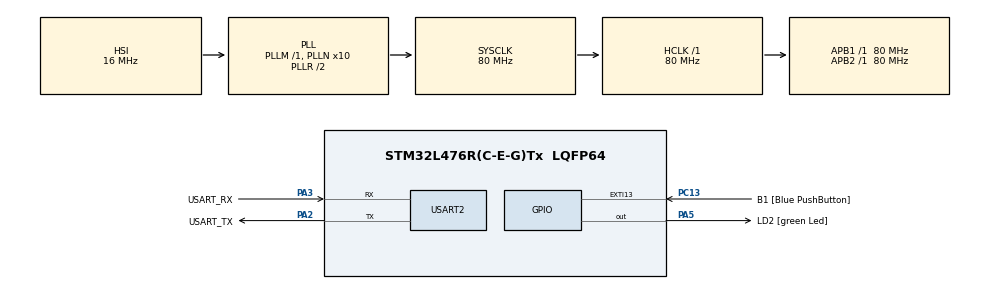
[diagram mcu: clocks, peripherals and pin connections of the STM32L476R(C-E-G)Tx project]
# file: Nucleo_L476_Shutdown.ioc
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Mcu.Family=STM32L4
Mcu.Name=STM32L476R(C-E-G)Tx
Mcu.Package=LQFP64
NVIC.EXTI15_10_IRQn=true\:0\:0\:false\:false\:true\:true\:true
NVIC.PriorityGroup=NVIC_PRIORITYGROUP_4
PA13\ (JTMS-SWDIO).GPIO_Label=TMS
PA13\ (JTMS-SWDIO).Mode=Serial_Wire
PA13\ (JTMS-SWDIO).Signal=SYS_JTMS-SWDIO
PA14\ (JTCK-SWCLK).GPIO_Label=TCK
PA14\ (JTCK-SWCLK).Mode=Serial_Wire
PA14\ (JTCK-SWCLK).Signal=SYS_JTCK-SWCLK
PA2.GPIO_Label=USART_TX
PA2.GPIO_Mode=GPIO_MODE_AF_PP
PA2.GPIO_PuPd=GPIO_NOPULL
PA2.GPIO_Speed=GPIO_SPEED_FREQ_VERY_HIGH
PA2.Mode=Asynchronous
PA2.Signal=USART2_TX
PA3.GPIO_Label=USART_RX
PA3.GPIO_Mode=GPIO_MODE_AF_PP
PA3.GPIO_PuPd=GPIO_NOPULL
PA3.GPIO_Speed=GPIO_SPEED_FREQ_VERY_HIGH
PA3.Mode=Asynchronous
PA3.Signal=USART2_RX
PA5.GPIO_Label=LD2 [green Led]
PA5.GPIO_ModeDefaultOutputPP=GPIO_MODE_OUTPUT_PP
PA5.GPIO_PuPd=GPIO_NOPULL
PA5.GPIO_Speed=GPIO_SPEED_FREQ_LOW
PA5.Signal=GPIO_Output
PB3\ (JTDO-TRACESWO).GPIO_Label=SWO
PB3\ (JTDO-TRACESWO).Signal=SYS_JTDO-SWO
PC13.GPIO_Label=B1 [Blue PushButton]
PC13.GPIO_ModeDefaultEXTI=GPIO_MODE_IT_FALLING
PC13.GPIO_PuPd=GPIO_NOPULL
PC13.Signal=GPXTI13
PC14-OSC32_IN\ (PC14).Mode=LSE-External-Oscillator
PC14-OSC32_IN\ (PC14).Signal=RCC_OSC32_IN
PC15-OSC32_OUT\ (PC15).Mode=LSE-External-Oscillator
PC15-OSC32_OUT\ (PC15).Signal=RCC_OSC32_OUT
PH0-OSC_IN\ (PH0).Signal=RCC_OSC_IN
PH1-OSC_OUT\ (PH1).Signal=RCC_OSC_OUT
ProjectManager.HeapSize=0x200
ProjectManager.StackSize=0x400
ProjectManager.TargetToolchain=STM32CubeIDE
RCC.ADCFreq_Value=64000000
RCC.AHBFreq_Value=80000000
RCC.APB1Freq_Value=80000000
RCC.APB1TimFreq_Value=80000000
RCC.APB2Freq_Value=80000000
RCC.APB2TimFreq_Value=80000000
RCC.CortexFreq_Value=80000000
RCC.HCLKFreq_Value=80000000
RCC.HSE_VALUE=8000000
RCC.HSI_VALUE=16000000
RCC.MSI_VALUE=4000000
RCC.PLLN=10
RCC.PLLSourceVirtual=RCC_PLLSOURCE_HSI
RCC.PREFETCH_ENABLE=1
RCC.SYSCLKFreq_VALUE=80000000
RCC.SYSCLKSource=RCC_SYSCLKSOURCE_PLLCLK
RCC.USBFreq_Value=64000000
RCC.VCOOutputFreq_Value=160000000
USART2.VirtualMode-Asynchronous=VM_ASYNC
board=NUCLEO-L476RG

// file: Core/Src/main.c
/* USER CODE BEGIN Header */
/**
  ******************************************************************************
  * @file           : main.c
  * @brief          : Main program body
  ******************************************************************************
  * @attention
  *
  * <h2><center>&copy; Copyright (c) 2021 STMicroelectronics.
  * All rights reserved.</center></h2>
  *
  * This software component is licensed by ST under BSD 3-Clause license,
  * the "License"; You may not use this file except in compliance with the
  * License. You may obtain a copy of the License at:
  *                        opensource.org/licenses/BSD-3-Clause
  *
  ******************************************************************************
  */
/* USER CODE END Header */
#include "main.h"

/* USER CODE BEGIN PD */

/* Delay set between each LED turn-on/off while LED is toggling */
#define LED_TOGGLE_DELAY         100
/* Delay set to keep LED turned on when out-of-shutdown detected */
#define LED_FREEZE_DELAY         50

/* USER CODE END PD */

UART_HandleTypeDef huart2;

/* USER CODE BEGIN PV */
static __IO uint32_t TimingDelay;
static __IO uint32_t counter;
static __IO uint32_t out_of_shutdown;
/* USER CODE END PV */

void SystemClock_Config(void);
static void MX_GPIO_Init(void);
static void MX_USART2_UART_Init(void);

int main(void)
{
  /* USER CODE BEGIN 1 */
	 out_of_shutdown = 0;
	 counter = LED_FREEZE_DELAY;
  /* USER CODE END 1 */

  /* MCU Configuration--------------------------------------------------------*/

  /* Reset of all peripherals, Initializes the Flash interface and the Systick. */
  HAL_Init();

  /* Configure the system clock */
  SystemClock_Config();

  /* Initialize all configured peripherals */
  MX_GPIO_Init();
  MX_USART2_UART_Init();
  /* USER CODE BEGIN 2 */

	__HAL_RCC_PWR_CLK_ENABLE();
	HAL_PWR_EnableBkUpAccess();

	/* Check and Clear the Wakeup flag */
	if (__HAL_PWR_GET_FLAG(PWR_FLAG_WUF2) != RESET)
	{
	  __HAL_PWR_CLEAR_FLAG(PWR_FLAG_WUF2);
	}

  /* USER CODE END 2 */

  /* Infinite loop */
  while (1)
  {

  }
}

void SystemClock_Config(void)
{
  RCC_OscInitTypeDef RCC_OscInitStruct = {0};
  RCC_ClkInitTypeDef RCC_ClkInitStruct = {0};

  /** Configure the main internal regulator output voltage
  */
  if (HAL_PWREx_ControlVoltageScaling(PWR_REGULATOR_VOLTAGE_SCALE1) != HAL_OK)
  {
    Error_Handler();
  }
  /** Initializes the RCC Oscillators according to the specified parameters
  * in the RCC_OscInitTypeDef structure.
  */
  RCC_OscInitStruct.OscillatorType = RCC_OSCILLATORTYPE_HSI;
  RCC_OscInitStruct.HSIState = RCC_HSI_ON;
  RCC_OscInitStruct.HSICalibrationValue = RCC_HSICALIBRATION_DEFAULT;
  RCC_OscInitStruct.PLL.PLLState = RCC_PLL_ON;
  RCC_OscInitStruct.PLL.PLLSource = RCC_PLLSOURCE_HSI;
  RCC_OscInitStruct.PLL.PLLM = 1;
  RCC_OscInitStruct.PLL.PLLN = 10;
  RCC_OscInitStruct.PLL.PLLP = RCC_PLLP_DIV7;
  RCC_OscInitStruct.PLL.PLLQ = RCC_PLLQ_DIV2;
  RCC_OscInitStruct.PLL.PLLR = RCC_PLLR_DIV2;
  if (HAL_RCC_OscConfig(&RCC_OscInitStruct) != HAL_OK)
  {
    Error_Handler();
  }
  /** Initializes the CPU, AHB and APB buses clocks
  */
  RCC_ClkInitStruct.ClockType = RCC_CLOCKTYPE_HCLK|RCC_CLOCKTYPE_SYSCLK
                              |RCC_CLOCKTYPE_PCLK1|RCC_CLOCKTYPE_PCLK2;
  RCC_ClkInitStruct.SYSCLKSource = RCC_SYSCLKSOURCE_PLLCLK;
  RCC_ClkInitStruct.AHBCLKDivider = RCC_SYSCLK_DIV1;
  RCC_ClkInitStruct.APB1CLKDivider = RCC_HCLK_DIV1;
  RCC_ClkInitStruct.APB2CLKDivider = RCC_HCLK_DIV1;

  if (HAL_RCC_ClockConfig(&RCC_ClkInitStruct, FLASH_LATENCY_4) != HAL_OK)
  {
    Error_Handler();
  }
}

static void MX_USART2_UART_Init(void)
{

  huart2.Instance = USART2;
  huart2.Init.BaudRate = 115200;
  huart2.Init.WordLength = UART_WORDLENGTH_8B;
  huart2.Init.StopBits = UART_STOPBITS_1;
  huart2.Init.Parity = UART_PARITY_NONE;
  huart2.Init.Mode = UART_MODE_TX_RX;
  huart2.Init.HwFlowCtl = UART_HWCONTROL_NONE;
  huart2.Init.OverSampling = UART_OVERSAMPLING_16;
  huart2.Init.OneBitSampling = UART_ONE_BIT_SAMPLE_DISABLE;
  huart2.AdvancedInit.AdvFeatureInit = UART_ADVFEATURE_NO_INIT;
  if (HAL_UART_Init(&huart2) != HAL_OK)
  {
    Error_Handler();
  }

}

static void MX_GPIO_Init(void)
{
  GPIO_InitTypeDef GPIO_InitStruct = {0};

  /* GPIO Ports Clock Enable */
  __HAL_RCC_GPIOC_CLK_ENABLE();
  __HAL_RCC_GPIOH_CLK_ENABLE();
  __HAL_RCC_GPIOA_CLK_ENABLE();
  __HAL_RCC_GPIOB_CLK_ENABLE();

  /*Configure GPIO pin Output Level */
  HAL_GPIO_WritePin(LD2_GPIO_Port, LD2_Pin, GPIO_PIN_RESET);

  /*Configure GPIO pin : B1_Pin */
  GPIO_InitStruct.Pin = B1_Pin;
  GPIO_InitStruct.Mode = GPIO_MODE_IT_FALLING;
  GPIO_InitStruct.Pull = GPIO_NOPULL;
  HAL_GPIO_Init(B1_GPIO_Port, &GPIO_InitStruct);

  /*Configure GPIO pin : LD2_Pin */
  GPIO_InitStruct.Pin = LD2_Pin;
  GPIO_InitStruct.Mode = GPIO_MODE_OUTPUT_PP;
  GPIO_InitStruct.Pull = GPIO_NOPULL;
  GPIO_InitStruct.Speed = GPIO_SPEED_FREQ_LOW;
  HAL_GPIO_Init(LD2_GPIO_Port, &GPIO_InitStruct);

  /* EXTI interrupt init*/
  HAL_NVIC_SetPriority(EXTI15_10_IRQn, 0, 0);
  HAL_NVIC_EnableIRQ(EXTI15_10_IRQn);

}

/* USER CODE BEGIN 4 */
void HAL_SYSTICK_Callback(void)
{
  HAL_IncTick();
  if (TimingDelay != 0)
  {
    TimingDelay--;
  }
  else
  {
    /* Keep LED2 on for about 4 sec. when out-of-shutdown detected */
    if ((out_of_shutdown == 1) && (counter > 0))
    {
      HAL_GPIO_WritePin(GPIOA, GPIO_PIN_5, GPIO_PIN_SET);
      counter--;
    }
    else
    {
    /* Toggle LED2 */
    HAL_GPIO_TogglePin(GPIOA, GPIO_PIN_5);
    }
    TimingDelay = LED_TOGGLE_DELAY;
  }

}

void HAL_GPIO_EXTI_Callback(uint16_t GPIO_Pin)
{
	if (GPIO_Pin == GPIO_PIN_13)
	{
		/* Wait that user release the User push-button */
		while(HAL_GPIO_ReadPin(GPIOC, GPIO_PIN_13) == GPIO_PIN_RESET){}

		/* Disable all used wakeup sources: WKUP pin */
		HAL_PWR_DisableWakeUpPin(PWR_WAKEUP_PIN2);

		/* Clear wake up Flag */
		__HAL_PWR_CLEAR_FLAG(PWR_FLAG_WUF2);

		/* Enable wakeup pin WKUP2 */
		HAL_PWR_EnableWakeUpPin(PWR_WAKEUP_PIN2_LOW);

		/* Set RTC back-up register RTC_BKP31R to indicate
		   later on that system has entered shutdown mode  */
		WRITE_REG( RTC->BKP31R, 0x1 );
		/* Enter shutdown mode */
		HAL_PWREx_EnterSHUTDOWNMode();
	}
}
/* USER CODE END 4 */

void Error_Handler(void)
{
  __disable_irq();
  while (1)
  {
  }
}

/************************ (C) COPYRIGHT STMicroelectronics *****END OF FILE****/
